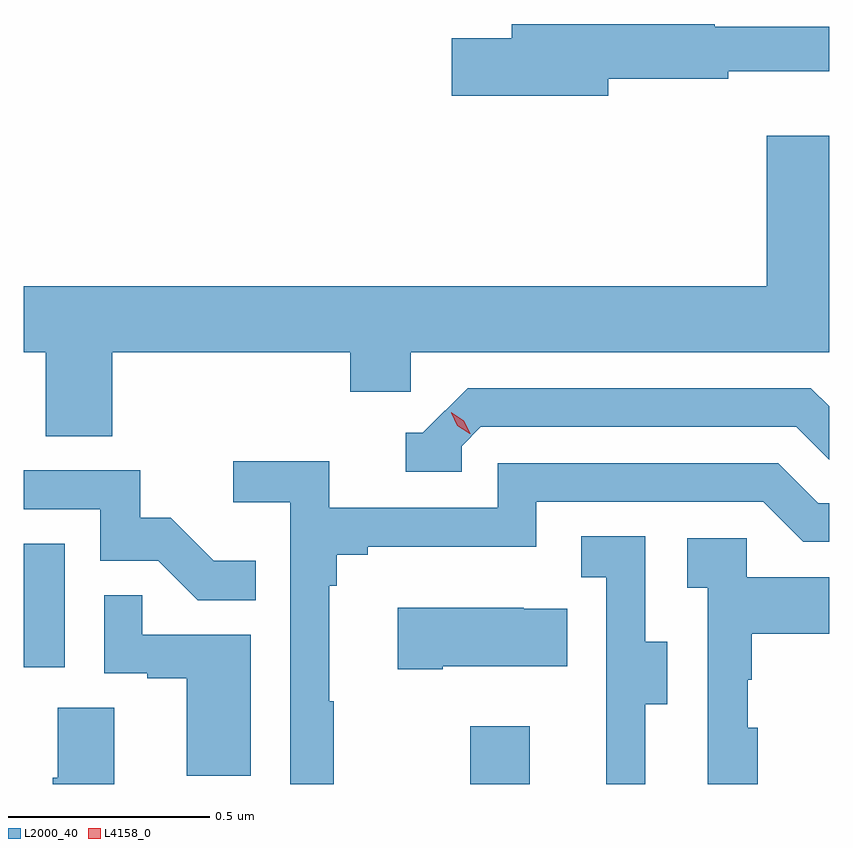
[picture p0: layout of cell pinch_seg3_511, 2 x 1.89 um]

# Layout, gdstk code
import gdstk
lib = gdstk.Library(unit=1e-6, precision=1e-09)
def R(c, l, rs):  # rectangles x0, y0, x1, y1
    for r in rs: c.add(gdstk.rectangle(r[:2], r[2:], *l))
def P(c, l, *ps):  # polygons
    for p in ps: c.add(gdstk.Polygon(p, *l))
L2000_40 = (2000, 40)
L4158_0 = (4158, 0)

pinch_seg3_511 = lib.new_cell('pinch_seg3_511')
R(pinch_seg3_511, L2000_40, [(979.456,667.876,979.603,668.02), (978.347,668.166,978.448,668.473)])
P(pinch_seg3_511, L2000_40, [(979.798,669.628),(980.096,669.628),(980.096,669.647),(980.347,669.647),(980.347,669.757),(980.063,669.757),(980.063,669.764),(979.559,669.764),(979.559,669.728),(979.41,669.728),(979.41,669.586),(979.798,669.586)],
  [(978.566,668.948),(979.157,668.948),(979.157,668.85),(979.308,668.85),(979.308,668.948),(980.347,668.948),(980.347,669.487),(980.192,669.487),(980.192,669.112),(978.347,669.112),(978.347,668.948),(978.401,668.948),(978.401,668.74),(978.566,668.74)],
  [(979.434,668.715),(979.482,668.763),(980.265,668.763),(980.347,668.681),(980.347,668.814),(980.302,668.859),(979.449,668.859),(979.338,668.748),(979.295,668.748),(979.295,668.652),(979.434,668.652)],
  [(979.117,668.081),(979.105,668.081),(979.105,668.369),(979.124,668.369),(979.124,668.446),(979.201,668.446),(979.201,668.465),(979.62,668.465),(979.62,668.577),(980.184,668.577),(980.283,668.478),(980.347,668.478),(980.347,668.574),(980.32,668.574),(980.221,668.673),(979.524,668.673),(979.524,668.562),(979.106,668.562),(979.106,668.678),(978.867,668.678),(978.867,668.576),(979.008,668.576),(979.008,667.876),(979.117,667.876)],
  [(978.923,668.431),(978.819,668.431),(978.712,668.538),(978.636,668.538),(978.636,668.655),(978.347,668.655),(978.347,668.559),(978.537,668.559),(978.537,668.43),(978.681,668.43),(978.779,668.332),(978.923,668.332)],
  [(979.891,668.074),(979.945,668.074),(979.945,668.229),(979.89,668.229),(979.89,668.492),(979.731,668.492),(979.731,668.389),(979.794,668.389),(979.794,668.085),(979.793,668.085),(979.793,667.876),(979.891,667.876)],
  [(980.17,668.016),(980.145,668.016),(980.145,668.135),(980.155,668.135),(980.155,668.249),(980.347,668.249),(980.347,668.389),(980.142,668.389),(980.142,668.487),(979.995,668.487),(979.995,668.363),(980.046,668.363),(980.046,667.876),(980.17,667.876)],
  [(978.91,668.247),(978.641,668.247),(978.641,668.345),(978.546,668.345),(978.546,668.151),(978.653,668.151),(978.653,668.139),(978.752,668.139),(978.752,667.896),(978.91,667.896)],
  [(979.387,668.168),(979.697,668.168),(979.697,668.311),(979.589,668.311),(979.589,668.314),(979.275,668.314),(979.275,668.161),(979.387,668.161)],
  [(978.571,668.066),(978.431,668.066),(978.431,667.892),(978.419,667.892),(978.419,667.876),(978.571,667.876)])
P(pinch_seg3_511, L4158_0, [(979.455,668.746),(979.424,668.766),(979.408,668.798),(979.408,668.799),(979.408,668.799),(979.439,668.779),(979.456,668.747),(979.456,668.746)])

lib.write_gds('pinch_seg3_511.gds')
